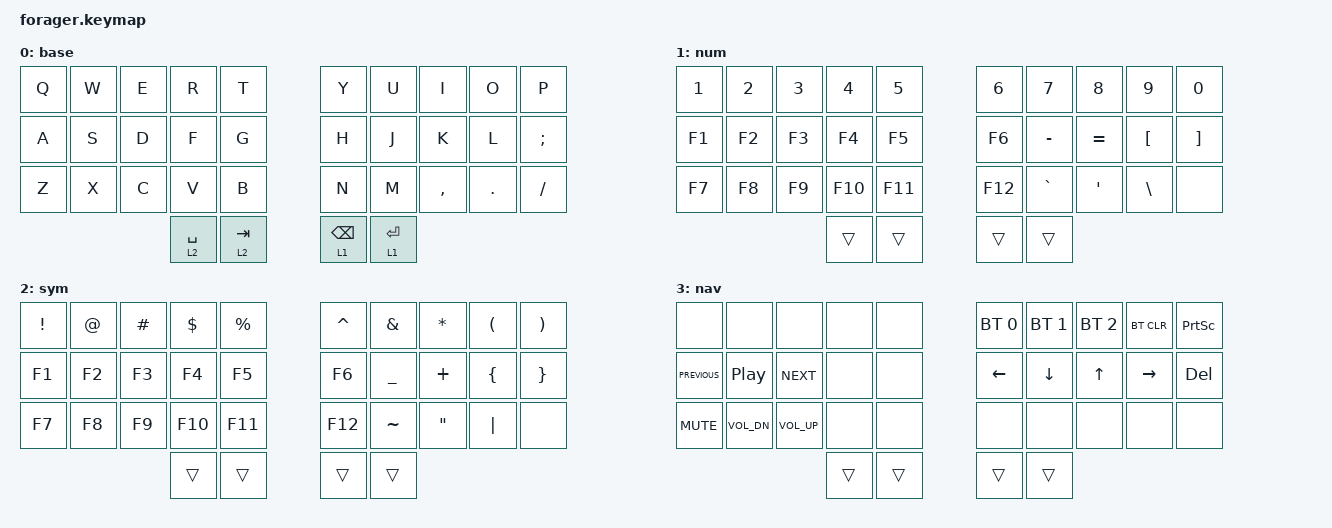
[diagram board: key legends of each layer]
#include <behaviors.dtsi>
#include <dt-bindings/zmk/bt.h>
#include <dt-bindings/zmk/keys.h>

/ {
    behaviors {
        sabk: shift_to_alt_backspace {
            compatible = "zmk,behavior-mod-morph";
            #binding-cells = <0>;
            bindings = <&kp BSPC>, <&kp LA(BSPC)>;

            mods = <(MOD_LSFT|MOD_RSFT)>;
        };

        smart_shift: smart_shift {
            compatible = "zmk,behavior-mod-morph";
            #binding-cells = <0>;
            bindings = <&sk LSHFT>, <&caps_word>;

            mods = <(MOD_LSFT|MOD_RSFT)>;
        };
    };

    conditional_layers {
        compatible = "zmk,conditional-layers";

        tri_layer {
            if-layers = <1 2>;
            then-layer = <3>;
        };
    };

    combos {
        compatible = "zmk,combos";

        combo_lctrl {
            bindings = <&kp LEFT_CONTROL>;
            key-positions = <12 13>;
        };

        como_lshift {
            bindings = <&kp LSHIFT>;
            key-positions = <12 11>;
        };

        como_lalt {
            bindings = <&kp LALT>;
            key-positions = <11 10>;
        };

        combo_lgui {
            bindings = <&kp LGUI>;
            key-positions = <11 13>;
        };

        combo_rctrl {
            bindings = <&kp RCTRL>;
            key-positions = <16 17>;
        };

        combo_rshift {
            bindings = <&kp RSHIFT>;
            key-positions = <17 18>;
        };

        combo_ralt {
            bindings = <&kp RALT>;
            key-positions = <18 19>;
        };

        combo_rgui {
            bindings = <&kp RGUI>;
            key-positions = <18 16>;
        };

        combo_esc {
            bindings = <&kp ESCAPE>;
            key-positions = <1 2>;
        };

        combo_bsp {
            bindings = <&kp BACKSPACE>;
            key-positions = <7 8>;
        };

        combo_tab {
            bindings = <&kp TAB>;
            key-positions = <22 21>;
        };
    };

    keymap {
        compatible = "zmk,keymap";

        base {
            bindings = <
&kp Q  &kp W  &kp E  &kp R        &kp T      &kp Y            &kp U        &kp I      &kp O    &kp P
&kp A  &kp S  &kp D  &kp F        &kp G      &kp H            &kp J        &kp K      &kp L    &kp SEMI
&kp Z  &kp X  &kp C  &kp V        &kp B      &kp N            &kp M        &kp COMMA  &kp DOT  &kp FSLH
                     &lt 2 SPACE  &lt 2 TAB  &lt 1 BACKSPACE  &lt 1 ENTER
            >;
        };

        num {
            bindings = <
&kp NUMBER_1  &kp NUMBER_2  &kp NUMBER_3  &kp NUMBER_4  &kp NUMBER_5  &kp NUMBER_6  &kp NUMBER_7  &kp NUMBER_8      &kp NUMBER_9      &kp NUMBER_0
&kp F1        &kp F2        &kp F3        &kp F4        &kp F5        &kp F6        &kp MINUS     &kp EQUAL         &kp LEFT_BRACKET  &kp RIGHT_BRACKET
&kp F7        &kp F8        &kp F9        &kp F10       &kp F11       &kp F12       &kp GRAVE     &kp SINGLE_QUOTE  &kp BACKSLASH     &none
                                          &trans        &trans        &trans        &trans
            >;
        };

        sym {
            bindings = <
&kp EXCLAMATION  &kp AT_SIGN  &kp HASH  &kp DOLLAR  &kp PERCENT  &kp CARET  &kp AMPERSAND   &kp ASTERISK       &kp LEFT_PARENTHESIS  &kp RIGHT_PARENTHESIS
&kp F1           &kp F2       &kp F3    &kp F4      &kp F5       &kp F6     &kp UNDERSCORE  &kp PLUS           &kp LEFT_BRACE        &kp RIGHT_BRACE
&kp F7           &kp F8       &kp F9    &kp F10     &kp F11      &kp F12    &kp TILDE       &kp DOUBLE_QUOTES  &kp PIPE              &none
                                        &trans      &trans       &trans     &trans
            >;
        };

        nav {
            bindings = <
&none           &none         &none            &none   &none   &bt BT_SEL 0    &bt BT_SEL 1  &bt BT_SEL 2  &bt BT_CLR  &kp PRINTSCREEN
&kp C_PREVIOUS  &kp C_PP      &kp C_NEXT       &none   &none   &kp LEFT_ARROW  &kp DOWN      &kp UP_ARROW  &kp RIGHT   &kp DELETE
&kp C_MUTE      &kp C_VOL_DN  &kp C_VOLUME_UP  &none   &none   &none           &none         &none         &none       &none
                                               &trans  &trans  &trans          &trans
            >;
        };
    };
};

&lt {
    tapping-term-ms = <150>;
    quick-tap-ms = <200>;
};

&sk {
    release-after-ms = <500>;
    quick-release;
};
